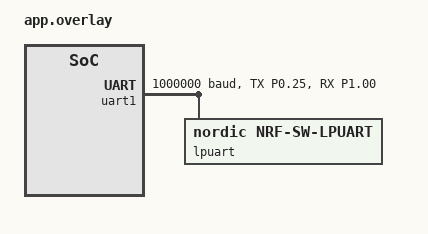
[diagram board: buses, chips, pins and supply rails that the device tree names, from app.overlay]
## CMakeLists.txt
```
cmake_minimum_required(VERSION 3.20.0)
find_package(Zephyr REQUIRED HINTS $ENV{ZEPHYR_BASE})

project(NRF52840)

# Entry point
target_sources(app PRIVATE src/main.c)

# App headers
zephyr_library_include_directories(
  src/events
  src/uart_channel
  src/ble_gatt
  src/imu_classifier
  src/watchdog
  )

# App directories
add_subdirectory(src/events)
add_subdirectory(src/uart_channel)
add_subdirectory(src/ble_gatt)
add_subdirectory(src/imu_classifier)
add_subdirectory_ifdef(CONFIG_ENABLE_WATCHDOG src/watchdog)
```

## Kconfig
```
#
# Copyright (c) 2020 Nordic Semiconductor ASA
#
# SPDX-License-Identifier: LicenseRef-Nordic-5-Clause
#

menu "Nyanthingy nrf52480"
    rsource "src/uart_channel/Kconfig"
    rsource "src/ble_gatt/Kconfig"
    rsource "src/watchdog/Kconfig"
endmenu

menu "Zephyr Kernel"
source "Kconfig.zephyr"
endmenu
```

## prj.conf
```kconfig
# General
CONFIG_HEAP_MEM_POOL_SIZE=8192
CONFIG_SYSTEM_WORKQUEUE_STACK_SIZE=2048
CONFIG_MAIN_STACK_SIZE=2048

# Logging
CONFIG_LOG=y
CONFIG_LOG_DEFAULT_LEVEL=2
CONFIG_FPU=y
CONFIG_USE_SEGGER_RTT=y
CONFIG_LOG_BACKEND_RTT=y
CONFIG_LOG_BACKEND_RTT_MODE_DROP=y

#Low power UART using the async api
CONFIG_NRF_SW_LPUART=y
CONFIG_UART_1_NRF_ASYNC_LOW_POWER=y
# CONFIG_UART_ASYNC_API=y
CONFIG_UART_1_ASYNC=y
CONFIG_UART_1_INTERRUPT_DRIVEN=n
CONFIG_UART_1_NRF_HW_ASYNC=y
CONFIG_UART_1_NRF_HW_ASYNC_TIMER=2
CONFIG_NRFX_TIMER2=y

#BLe Peripheral -- The main role
CONFIG_BT=y
CONFIG_BT_PERIPHERAL=y
CONFIG_BT_DEVICE_NAME="NyanThingy"
CONFIG_BT_PERIPHERAL_PREF_MIN_INT=800
CONFIG_BT_PERIPHERAL_PREF_MAX_INT=800
CONFIG_BT_PERIPHERAL_PREF_LATENCY=0
CONFIG_BT_PERIPHERAL_PREF_TIMEOUT=400
CONFIG_BT_GAP_AUTO_UPDATE_CONN_PARAMS=y
CONFIG_BT_USER_PHY_UPDATE=y

# The NUS bt service
CONFIG_BT_NUS=y
CONFIG_BT_NUS_AUTHEN=y
CONFIG_BT_NUS_SECURITY_ENABLED=y

CONFIG_BT_FIXED_PASSKEY=y
CONFIG_BT_NUS_SECURITY_PASSKEY=228200
# Bonding
CONFIG_SETTINGS=y
CONFIG_BT_SETTINGS=y
CONFIG_FLASH=y
CONFIG_FLASH_PAGE_LAYOUT=y
CONFIG_FLASH_MAP=y
CONFIG_NVS=y

#Central for IMU
CONFIG_BT_CENTRAL=y
CONFIG_BT_SCAN=y
CONFIG_BT_SCAN_FILTER_ENABLE=y
# CONFIG_BT_SCAN_UUID_CNT=1
CONFIG_BT_SCAN_NAME_CNT=1
CONFIG_BT_GATT_CLIENT=y
CONFIG_BT_GATT_DM=y


# Enable events
CONFIG_APP_EVENT_MANAGER=y
```

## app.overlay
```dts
/ {
	chosen {
		nordic,nus-uart = &lpuart;
	};
};

&pinctrl {
	uart1_default_alt: uart1_default_alt {
			group1 {
					psels = <NRF_PSEL(UART_TX, 0, 25)>,
							<NRF_PSEL(UART_RX, 1, 00)>;
							// <NRF_PSEL(UART_CTS, 0, 22)>,
							// <NRF_PSEL(UART_RTS, 0, 19)>;
			};
	};

	uart1_sleep_alt: uart1_sleep_alt {
			group1 {
					psels = <NRF_PSEL(UART_TX, 0, 25)>,
							<NRF_PSEL(UART_RX, 1, 00)>;
							// <NRF_PSEL(UART_CTS, 0, 22)>,
							// <NRF_PSEL(UART_RTS, 0, 19)>;
					low-power-enable;
			};
	};
};


&gpiote {
	interrupts = <6 NRF_DEFAULT_IRQ_PRIORITY>;
};

&uart1 {
	status = "okay";

	current-speed = <1000000>;
	pinctrl-0 = <&uart1_default_alt>;
	pinctrl-1 = <&uart1_sleep_alt>;
	pinctrl-names = "default", "sleep";
	
	lpuart: nrf-sw-lpuart {
		compatible = "nordic,nrf-sw-lpuart";
		status = "okay";
		req-pin = <22>;
		rdy-pin = <19>;
	};
};
```

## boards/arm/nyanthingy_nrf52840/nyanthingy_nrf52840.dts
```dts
// Copyright (c) 2024 Nordic Semiconductor ASA
// SPDX-License-Identifier: Apache-2.0

/dts-v1/;
#include <nordic/nrf52840_qiaa.dtsi>

/ {
	model = "NyanThingy nrf52840";
	compatible = "bqrry,nyanthingy-nrf52840";

	chosen {
		zephyr,sram = &sram0;
		zephyr,flash = &flash0;
		zephyr,code-partition = &slot0_partition;
	};
};

&flash0 {
	partitions {
		compatible = "fixed-partitions";
		#address-cells = <1>;
		#size-cells = <1>;

		boot_partition: partition@0 {
			label = "mcuboot";
			reg = <0x0 0xc000>;
		};
		slot0_partition: partition@c000 {
			label = "image-0";
			reg = <0xc000 0x72000>;
		};
		slot1_partition: partition@7e000 {
			label = "image-1";
			reg = <0x7e000 0x72000>;
		};
		scratch_partition: partition@f0000 {
			label = "image-scratch";
			reg = <0xf0000 0xa000>;
		};
		storage_partition: partition@fa000 {
			label = "storage";
			reg = <0xfa000 0x6000>;
		};
	};
};

&gpiote {
	status = "okay";
};

&gpio0 {
	status = "okay";
};

&gpio1 {
	status = "okay";
};
```

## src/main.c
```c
#include <zephyr/logging/log.h>
#include <app_event_manager.h>

#include "uart_channel/uart_channel.h"
#include "ble_gatt/ble.h"
#include "imu_classifier.h"

LOG_MODULE_REGISTER(MainThingy, LOG_LEVEL_INF);

int main()
{
    int err;

    err = app_event_manager_init();
    if (err)
    {
        LOG_ERR("Unable to init Application Event Manager (%d)", err);
        return err;
    }

    err = ble_init();
    if (err)
    {
        LOG_ERR("Failed to init ble module, %d", err);
        return err;
    }

    err = uart_channel_init();
    if (err)
    {
        LOG_ERR("Failed to init uart_channel module, %d", err);
        return err;
    }

    // should be initiated when ble is enabled
    err = imu_classifier_init();
    if (err)
    {
        LOG_ERR("Failed to init imu_classifier module, %d", err);
        return err;
    }

    return 0;
}
```
